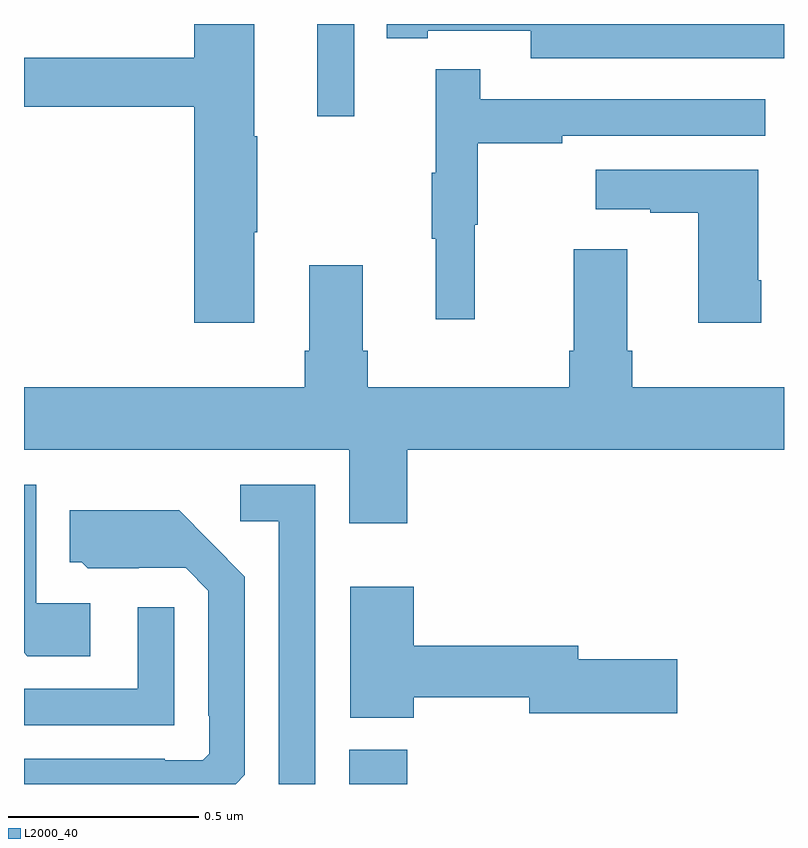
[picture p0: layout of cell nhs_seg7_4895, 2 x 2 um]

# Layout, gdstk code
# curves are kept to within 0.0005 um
import gdstk
lib = gdstk.Library(unit=1e-6, precision=1e-09)
def R(c, l, rs):  # rectangles x0, y0, x1, y1
    for r in rs: c.add(gdstk.rectangle(r[:2], r[2:], *l))
def P(c, l, *ps):  # polygons
    for p in ps: c.add(gdstk.Polygon(p, *l))
L2000_40 = (2000, 40)

nhs_seg7_4895 = lib.new_cell('nhs_seg7_4895')
R(nhs_seg7_4895, L2000_40, [(178.856,1069,179.009,1069.09), (178.772,1070.757,178.869,1071)])
P(nhs_seg7_4895, L2000_40, [(178.606,1070.452),(178.614,1070.452),(178.614,1070.705),(178.606,1070.705),(178.606,1071),(178.448,1071),(178.448,1070.911),(178,1070.911),(178,1070.782),(178.448,1070.782),(178.448,1070.214),(178.606,1070.214)],
  [(180,1071),(178.954,1071),(178.954,1070.962),(179.062,1070.962),(179.062,1070.982),(179.334,1070.982),(179.334,1070.91),(180,1070.91)],
  [(179.186,1070.472),(179.194,1070.472),(179.194,1070.686),(179.417,1070.686),(179.417,1070.706),(179.95,1070.706),(179.95,1070.802),(179.201,1070.802),(179.201,1070.881),(179.084,1070.881),(179.084,1070.609),(179.073,1070.609),(179.073,1070.435),(179.084,1070.435),(179.084,1070.223),(179.186,1070.223)],
  [(179.94,1070.326),(179.932,1070.326),(179.932,1070.617),(179.505,1070.617),(179.505,1070.513),(179.648,1070.513),(179.648,1070.503),(179.774,1070.503),(179.774,1070.214),(179.94,1070.214)],
  [(179.009,1069.88),(180,1069.88),(180,1070.044),(179.6,1070.044),(179.6,1070.14),(179.587,1070.14),(179.587,1070.407),(179.447,1070.407),(179.447,1070.14),(179.435,1070.14),(179.435,1070.044),(178.904,1070.044),(178.904,1070.14),(178.891,1070.14),(178.891,1070.365),(178.751,1070.365),(178.751,1070.14),(178.739,1070.14),(178.739,1070.044),(178,1070.044),(178,1069.88),(178.856,1069.88),(178.856,1069.686),(179.009,1069.686)],
  [(178.174,1069.476),(178.032,1069.476),(178.032,1069.788),(178,1069.788),(178,1069.345),(178.009,1069.336),(178.174,1069.336)],
  [(178.767,1069.788),(178.569,1069.788),(178.569,1069.692),(178.671,1069.692),(178.671,1069),(178.767,1069)],
  [(178.581,1069.024),(178.581,1069.546),(178.409,1069.72),(178.121,1069.72),(178.121,1069.584),(178.152,1069.584),(178.168,1069.568),(178.302,1069.568),(178.302,1069.569),(178.425,1069.569),(178.485,1069.509),(178.485,1069.18),(178.488,1069.18),(178.488,1069.08),(178.47,1069.062),(178.37,1069.062),(178.37,1069.066),(178,1069.066),(178,1069),(178.557,1069)],
  [(179.026,1069.228),(179.33,1069.228),(179.33,1069.186),(179.719,1069.186),(179.719,1069.328),(179.458,1069.328),(179.458,1069.364),(179.026,1069.364),(179.026,1069.519),(178.859,1069.519),(178.859,1069.175),(179.026,1069.175)],
  [(178.395,1069.465),(178.299,1069.465),(178.299,1069.251),(178,1069.251),(178,1069.155),(178.395,1069.155)])

lib.write_gds('nhs_seg7_4895.gds')
